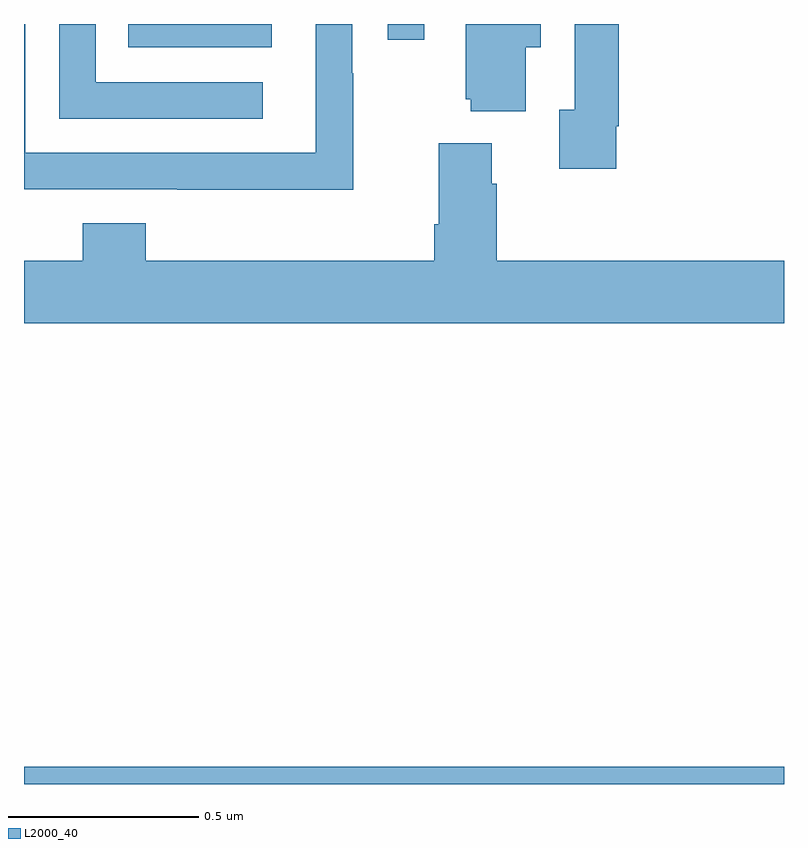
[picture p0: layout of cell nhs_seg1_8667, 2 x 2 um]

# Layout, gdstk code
import gdstk
lib = gdstk.Library(unit=1e-6, precision=1e-09)
def R(c, l, rs):  # rectangles x0, y0, x1, y1
    for r in rs: c.add(gdstk.rectangle(r[:2], r[2:], *l))
def P(c, l, *ps):  # polygons
    for p in ps: c.add(gdstk.Polygon(p, *l))
L2000_40 = (2000, 40)

nhs_seg1_8667 = lib.new_cell('nhs_seg1_8667')
R(nhs_seg1_8667, L2000_40, [(219,537.199,221,537.244), (219.274,539.138,219.652,539.199), (219.957,539.157,220.053,539.199)])
P(nhs_seg1_8667, L2000_40, [(219.628,539.046),(219.189,539.046),(219.189,539.199),(219.093,539.199),(219.093,538.95),(219.628,538.95)],
  [(220.558,538.93),(220.565,538.93),(220.565,539.199),(220.449,539.199),(220.449,538.974),(220.409,538.974),(220.409,538.818),(220.558,538.818)],
  [(219.867,539.069),(219.864,539.069),(219.864,539.199),(219.768,539.199),(219.768,538.86),(219.003,538.86),(219.003,539.199),(219,539.199),(219,538.764),(219.403,538.764),(219.403,538.763),(219.867,538.763)],
  [(220.321,539.138),(220.36,539.138),(220.36,539.199),(220.163,539.199),(220.163,539.001),(220.175,539.001),(220.175,538.97),(220.321,538.97)],
  [(221,538.576),(220.244,538.576),(220.244,538.778),(220.231,538.778),(220.231,538.885),(220.091,538.885),(220.091,538.672),(220.079,538.672),(220.079,538.576),(219.32,538.576),(219.32,538.675),(219.155,538.675),(219.155,538.576),(219,538.576),(219,538.412),(221,538.412)])

lib.write_gds('nhs_seg1_8667.gds')
